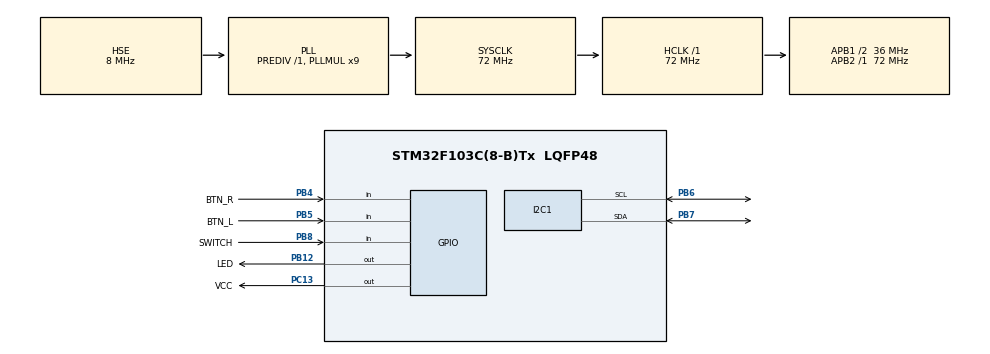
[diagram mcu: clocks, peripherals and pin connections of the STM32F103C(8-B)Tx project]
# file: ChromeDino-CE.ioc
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Mcu.Family=STM32F1
Mcu.Name=STM32F103C(8-B)Tx
Mcu.Package=LQFP48
NVIC.PriorityGroup=NVIC_PRIORITYGROUP_4
PA13.Mode=Trace_Asynchronous_SW
PA13.Signal=SYS_JTMS-SWDIO
PA14.Mode=Trace_Asynchronous_SW
PA14.Signal=SYS_JTCK-SWCLK
PB12.GPIO_Label=LED
PB12.PinState=GPIO_PIN_SET
PB12.Signal=GPIO_Output
PB3.Mode=Trace_Asynchronous_SW
PB3.Signal=SYS_JTDO-TRACESWO
PB4.GPIO_Label=BTN_R
PB4.GPIO_PuPd=GPIO_PULLDOWN
PB4.Signal=GPIO_Input
PB5.GPIO_Label=BTN_L
PB5.GPIO_PuPd=GPIO_PULLDOWN
PB5.Signal=GPIO_Input
PB6.Mode=I2C
PB6.Signal=I2C1_SCL
PB7.Mode=I2C
PB7.Signal=I2C1_SDA
PB8.GPIO_Label=SWITCH
PB8.GPIO_PuPd=GPIO_PULLUP
PB8.Signal=GPIO_Input
PC13-TAMPER-RTC.GPIO_Label=VCC
PC13-TAMPER-RTC.PinState=GPIO_PIN_SET
PC13-TAMPER-RTC.Signal=GPIO_Output
PD0-OSC_IN.Mode=HSE-External-Oscillator
PD0-OSC_IN.Signal=RCC_OSC_IN
PD1-OSC_OUT.Mode=HSE-External-Oscillator
PD1-OSC_OUT.Signal=RCC_OSC_OUT
ProjectManager.HeapSize=0x200
ProjectManager.StackSize=0x400
ProjectManager.TargetToolchain=SW4STM32
RCC.AHBFreq_Value=72000000
RCC.APB1CLKDivider=RCC_HCLK_DIV2
RCC.APB1Freq_Value=36000000
RCC.APB1TimFreq_Value=72000000
RCC.APB2Freq_Value=72000000
RCC.APB2TimFreq_Value=72000000
RCC.HCLKFreq_Value=72000000
RCC.PLLMUL=RCC_PLL_MUL9
RCC.PLLSourceVirtual=RCC_PLLSOURCE_HSE
RCC.SYSCLKFreq_VALUE=72000000
RCC.SYSCLKSource=RCC_SYSCLKSOURCE_PLLCLK
RCC.USBFreq_Value=72000000
board=custom

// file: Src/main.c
/* USER CODE BEGIN Header */
/**
  ******************************************************************************
  * @file           : main.c
  * @brief          : Main program body
  ******************************************************************************
  * @attention
  *
  * <h2><center>&copy; Copyright (c) 2020 STMicroelectronics.
  * All rights reserved.</center></h2>
  *
  * This software component is licensed by ST under BSD 3-Clause license,
  * the "License"; You may not use this file except in compliance with the
  * License. You may obtain a copy of the License at:
  *                        opensource.org/licenses/BSD-3-Clause
  *
  ******************************************************************************
  */
/* USER CODE END Header */
#include "main.h"
#include "i2c.h"
#include "gpio.h"

/* USER CODE BEGIN Includes */
#include "universal.h"
#include "util.h"
#include "keyboard.h"
#include "graphicsE.h"
#include "random.h"
/* USER CODE END Includes */

/* USER CODE BEGIN PV */
//uint8_t axis = 0;
//uint16_t score = 14;

/* USER CODE END PV */

void SystemClock_Config(void);

int main(void) {
    /* USER CODE BEGIN 1 */

    // Try to init random 10 times.
    for (int i = 0; i < 10; ++i) {
        if (RAND_SetRandomInit()) {
            break;  // Random init success.
        }
    }
    /* USER CODE END 1 */

    /* MCU Configuration--------------------------------------------------------*/

    /* Reset of all peripherals, Initializes the Flash interface and the Systick. */
    HAL_Init();

    /* Configure the system clock */
    SystemClock_Config();

    /* Initialize all configured peripherals */
    MX_GPIO_Init();
    MX_I2C1_Init();
    /* USER CODE BEGIN 2 */

    // Attention: OLED codes must behind the I2C Init function.
    OLED_SetInit();                     // Init OLED.
    OLED_SetDisplay(OLED_DISPLAY_ON);   // Set OLED display to ON.

    // New a cactus object.
    Cactus *gameCactus = GAME_GetCactusRand();

    // New a game dino object.
    Dino *gameDino = GAME_InitDino();

    uint16_t score = 0;             // Define a var to record game scores.
    uint32_t timer = HAL_GetTick(); // Define a var to record last loop end time.
    // Define a var to record random interval number.
    uint16_t interval = GAME_GetRandomNumber_uint16(500, 1000);

    // Clear the screen.
    OLED_ClearScreen();
    // Start count down(three to zero).
    GAME_CountDown();
    // Init the OLED screen.
    GAME_InitScreen();
    OLED_FillBlockInt4(96, 0, 0);   // Init the score with zero.
    // Define a bool var to record if button has pressed down(lock).
    uint8_t btnHasPressed = false;
    /* USER CODE END 2 */

    /* Infinite loop */
    /* USER CODE BEGIN WHILE */
    // Operation loop
    while (true) {
        /* USER CODE END WHILE */
        /* USER CODE BEGIN 3 */

        gameDino = GAME_DrawDino(gameDino); // Draw the dino

        // Jump button was pressed.
        if (KB_GetJumpBtnStatus() == true) {
            btnHasPressed = true;       // Lock the button.
            GAME_SetDinoJump(gameDino); // Set game dino status to jumped.
            // Set LED On.
            HAL_GPIO_WritePin(LED_GPIO_Port, LED_Pin, GPIO_PIN_RESET);
        } else {
            btnHasPressed = false;      // Unlock the button.
            // Set Light Off
            HAL_GPIO_WritePin(LED_GPIO_Port, LED_Pin, GPIO_PIN_SET);
        }

        // Try to draw a cactus.
        if (gameCactus != NULL) {
            uint8_t plusScore = gameCactus->height * 2;     // Define a var to record the score.
            gameCactus = GAME_DrawCactus(gameCactus);       // Draw the cactus.
            if (gameCactus == NULL) {
                score += plusScore;                               // Calculate the new score.
                OLED_FillBlockInt4(96, 0, score);           // Display the new score.
            }
        } else {
            // Get now time.
            uint32_t nowTime = HAL_GetTick();
            if (nowTime - timer > interval) {
                // Try to rand a cactus interval.
                gameCactus = GAME_GetCactusRand();
                interval = GAME_GetRandomNumber_uint16(1000, 1500);     // Set new interval.
                timer = nowTime;                                                 // Renew timer
            }
        }

        // Game over
        if (GAME_GetGameStatus(gameDino, gameCactus) == false) {
//            OLED_ClearBlockAny(0, 6, RES_SIZE_16x16);
//            OLED_FillBlockAny(0, 6, RES_SIZE_16x16, RES_ID_16x16_DINO_4);
            gameDino->flag = RES_ID_16x16_DINO_4;
            GAME_DrawDino(gameDino);

            HAL_Delay(600);
            OLED_ClearScreen();         // Clear screen
            GAME_DrawGameOver();        // Draw game over interface

            KB_WaitRestartBtnHit(200);     // Wait for restart button pressed
            __set_FAULTMASK(1);            // Turn off total interrupt
            NVIC_SystemReset();                     // Request MCU restart
        }
    }

    /* USER CODE END 3 */
}

void SystemClock_Config(void) {
    RCC_OscInitTypeDef RCC_OscInitStruct = {0};
    RCC_ClkInitTypeDef RCC_ClkInitStruct = {0};

    /** Initializes the RCC Oscillators according to the specified parameters
    * in the RCC_OscInitTypeDef structure.
    */
    RCC_OscInitStruct.OscillatorType = RCC_OSCILLATORTYPE_HSE;
    RCC_OscInitStruct.HSEState = RCC_HSE_ON;
    RCC_OscInitStruct.HSEPredivValue = RCC_HSE_PREDIV_DIV1;
    RCC_OscInitStruct.HSIState = RCC_HSI_ON;
    RCC_OscInitStruct.PLL.PLLState = RCC_PLL_ON;
    RCC_OscInitStruct.PLL.PLLSource = RCC_PLLSOURCE_HSE;
    RCC_OscInitStruct.PLL.PLLMUL = RCC_PLL_MUL9;
    if (HAL_RCC_OscConfig(&RCC_OscInitStruct) != HAL_OK) {
        Error_Handler();
    }
    /** Initializes the CPU, AHB and APB buses clocks
    */
    RCC_ClkInitStruct.ClockType = RCC_CLOCKTYPE_HCLK | RCC_CLOCKTYPE_SYSCLK
                                  | RCC_CLOCKTYPE_PCLK1 | RCC_CLOCKTYPE_PCLK2;
    RCC_ClkInitStruct.SYSCLKSource = RCC_SYSCLKSOURCE_PLLCLK;
    RCC_ClkInitStruct.AHBCLKDivider = RCC_SYSCLK_DIV1;
    RCC_ClkInitStruct.APB1CLKDivider = RCC_HCLK_DIV2;
    RCC_ClkInitStruct.APB2CLKDivider = RCC_HCLK_DIV1;

    if (HAL_RCC_ClockConfig(&RCC_ClkInitStruct, FLASH_LATENCY_2) != HAL_OK) {
        Error_Handler();
    }
}

void Error_Handler(void) {
    /* USER CODE BEGIN Error_Handler_Debug */
    /* User can add his own implementation to report the HAL error return state */
    __disable_irq();
    while (1) {
        // Light the LED
        HAL_GPIO_WritePin(LED_GPIO_Port, LED_Pin, GPIO_PIN_RESET);
        HAL_Delay(5000);            // Delay 5s
        __set_FAULTMASK(1);      // Turn off total interrupt
        NVIC_SystemReset();               // Request MCU restart
    }
    /* USER CODE END Error_Handler_Debug */
}

/************************ (C) COPYRIGHT STMicroelectronics *****END OF FILE****/
